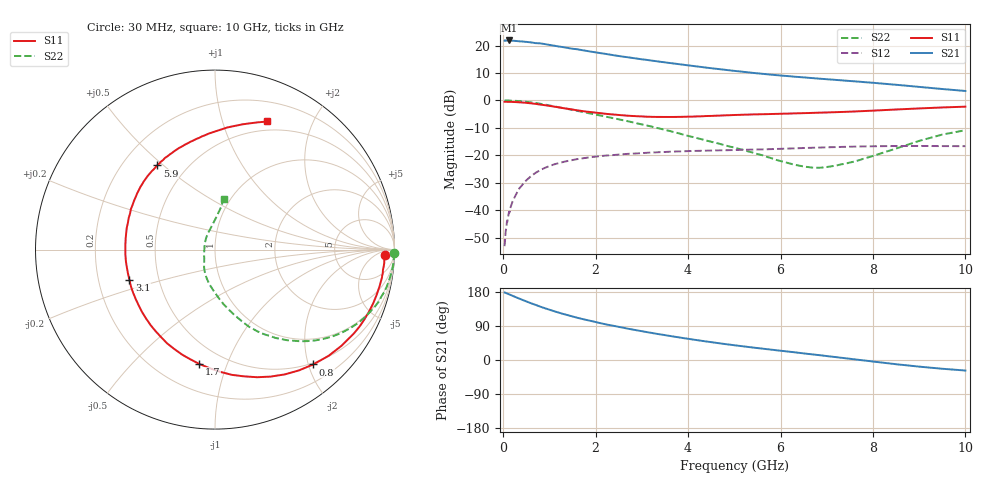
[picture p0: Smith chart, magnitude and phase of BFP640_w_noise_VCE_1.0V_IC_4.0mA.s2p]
! (c) 2013  Infineon Technologies AG, Munich
! Infineon Technologies  Discrete & RF Semiconductors
! BFP640
! VCE =  1.0 V,  IC =  4.0 mA
! Common Emitter S-Parameters:  Apr 2013
# GHz  S  MA  R  50
!  f  S11  S21  S12  S22
! GHz  MAG  ANG  MAG  ANG  MAG  ANG  MAG  ANG
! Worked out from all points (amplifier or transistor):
!   99 points, 30 MHz to 10 GHz, reference 50 ohm
!   highest |S21| = 21.9 dB at 120 MHz (marker M1)
!   |S21| within 3 dB of that: start of sweep to 1.491 GHz
!   unconditionally stable (mu >= 1): 5.487 GHz to end of sweep
!   at 350 MHz: K = 0.06, MSG = 26.8 dB, |S12| = -32.0 dB
!   at 3.5 GHz: K = 0.75, MSG = 16.3 dB, |S12| = -18.8 dB
!   at 10 GHz: K = 1.17, MAG = 7.6 dB, |S12| = -16.7 dB
!   lowest NFmin = 0.54 dB at 450 MHz
!   S11 on the Smith chart (normalised r, x): 30 MHz: 27, -16; 800 MHz: 0.47, -2.08; 1.7 GHz: 0.37, -0.80; 3.1 GHz: 0.34, -0.15; 5.9 GHz: 0.34, +0.48; 10 GHz: 0.40, +1.41
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0.03  0.9467 -1.9  12.31 178.1  0.0022 85.5  0.9979 -1.1
0.08  0.9453 -5.0  12.36 175.7  0.0062 95.8  0.9978 -3.1
0.12  0.9433 -7.6  12.42 173.6  0.0088 88.7  0.9963 -4.8
0.25  0.9352 -15.7  12.21 167.0  0.0174 82.9  0.9853 -9.9
0.5  0.904 -31.1  11.7 154.6  0.0349 73.2  0.9453 -19.7
0.6  0.8856 -37.2  11.46 149.8  0.0416 69.4  0.922 -23.4
0.8  0.8418 -49.5  11 140.8  0.0536 63.0  0.8703 -30.3
1.1  0.7722 -66.4  9.987 128.8  0.0682 53.7  0.7813 -39.6
1.3  0.7241 -77.2  9.377 121.4  0.0756 48.4  0.7248 -44.7
1.6  0.6599 -93.0  8.581 111.5  0.0852 41.9  0.6464 -51.4
1.7  0.643 -97.8  8.283 108.6  0.0876 40.0  0.621 -53.4
2.1  0.5864 -117.1  7.302 97.3  0.0967 32.9  0.5315 -61.1
2.3  0.5617 -126.3  6.876 92.1  0.1 30.0  0.4909 -64.3
2.7  0.5266 -143.8  6.124 82.6  0.1062 24.8  0.4173 -70.1
3.1  0.5056 -160.7  5.501 73.7  0.1109 20.5  0.3503 -76.3
3.4  0.5006 -172.6  5.075 67.6  0.1141 17.2  0.3051 -81.4
4.1  0.5077 162.9  4.266 54.1  0.1198 10.8  0.2157 -94.5
5.1  0.5458 137.9  3.393 37.4  0.1253 3.7  0.1312 -116.4
5.9  0.5689 124.5  2.898 25.9  0.1303 -0.8  0.0828 -136.6
6.7  0.5936 112.4  2.554 14.7  0.1373 -5.8  0.0595 -179.2
8.5  0.6841 84.2  1.932 -11.1  0.1477 -19.2  0.1328 97.7
10  0.7703 67.9  1.489 -27.8  0.1465 -27.6  0.2865 80.4
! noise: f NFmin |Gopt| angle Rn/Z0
0.45  0.54  0.5  12  0.12
0.9  0.55  0.5  22  0.12
1.5  0.6  0.44  35  0.12
1.9  0.65  0.39  51  0.12
2.4  0.7  0.36  59  0.11
3.5  0.85  0.3  87  0.11
5.5  1.13  0.3  -163  0.12
10  1.9  0.64  -65  0.47
